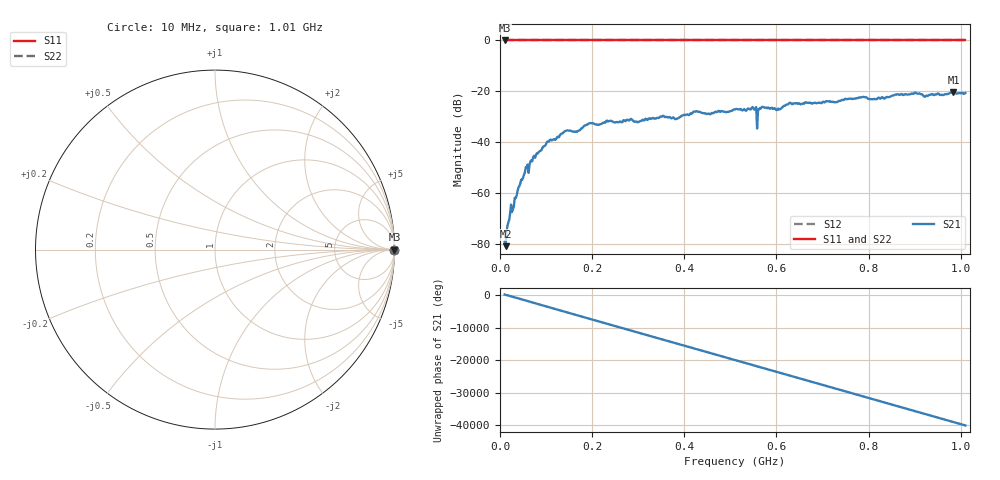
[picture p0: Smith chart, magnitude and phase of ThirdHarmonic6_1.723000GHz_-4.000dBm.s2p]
! 8/16/2025 8:44:24 PM
! C:\ANRITSUVNA\TEMP\TEMP.S2P
! CHANNEL.1
! TR.MEASUREMENT
! RAW.DATA
! RF.CORRECTION.OFF
! AVERAGING.OFF
! IF.BANDWIDTH: 5KHZ
! SWEEPTYPE:  FREQ.SWEEP(Linear)
! Reference Plane Port Info
! PORT:  PORT1  PORT2
! DISTANCE:  0  m  0  m
! TIME:  0  s  0  s
! PHASE.OFFSET:  0  deg.  0  deg.
! LOSS:  0  dB  0  dB
! REF.LOSS:  0  dB  0  dB
! REF.FREQ:  0  Hz  0  Hz
! Power Info
! POWER:  -20  dBm  -20  dBm
! EFF.POWER:  -20  dBm  -20  dBm
! SOURCE.ATTEN:  0  dB  0  dB
! TEST.ATTEN:  0  dB  0  dB
# GHZ S RI R 50.0
! FREQ.GHZ  S11RE  S11IM  S21RE  S21IM  S12RE  S12IM  S22RE  S22IM
!; PortSelection: Port_12
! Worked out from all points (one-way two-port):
!   501 points, 10 MHz to 1.01 GHz, reference 50 ohm
!   highest |S21| = -20.45 dB at 984 MHz (marker M1); lowest = -81.0 dB at 12 MHz (marker M2)
!   lowest |S11| = 0.0 dB at 10 MHz (marker M3)
!   |S11| at or under -10 dB: nowhere
!   |S22| runs from 0.0 to 0.0 dB; largest |S21 - S12| = 1.1
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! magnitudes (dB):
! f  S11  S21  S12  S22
! 10 MHz  0.0  -79.1  0.0  0.0
! 12 MHz  0.0  -81.0  0.0  0.0
! 20 MHz  0.0  -70.6  0.0  0.0
! 42 MHz  0.0  -57.4  0.0  0.0
! 56 MHz  0.0  -49.9  0.0  0.0
! 70 MHz  0.0  -47.6  0.0  0.0
! 106 MHz  0.0  -39.8  0.0  0.0
! 144 MHz  0.0  -35.5  0.0  0.0
! 178 MHz  0.0  -34.6  0.0  0.0
! 196 MHz  0.0  -32.6  0.0  0.0
! 344 MHz  0.0  -30.6  0.0  0.0
! 510 MHz  0.0  -27.2  0.0  0.0
! 552 MHz  0.0  -27.2  0.0  0.0
! 554 MHz  0.0  -26.7  0.0  0.0
! 562 MHz  0.0  -27.2  0.0  0.0
! 568 MHz  0.0  -26.2  0.0  0.0
! 604 MHz  0.0  -26.8  0.0  0.0
! 628 MHz  0.0  -24.6  0.0  0.0
! 678 MHz  0.0  -24.9  0.0  0.0
! 844 MHz  0.0  -22.3  0.0  0.0
! 984 MHz  0.0  -20.5  0.0  0.0
! 1.01 GHz  0.0  -20.7  0.0  0.0
